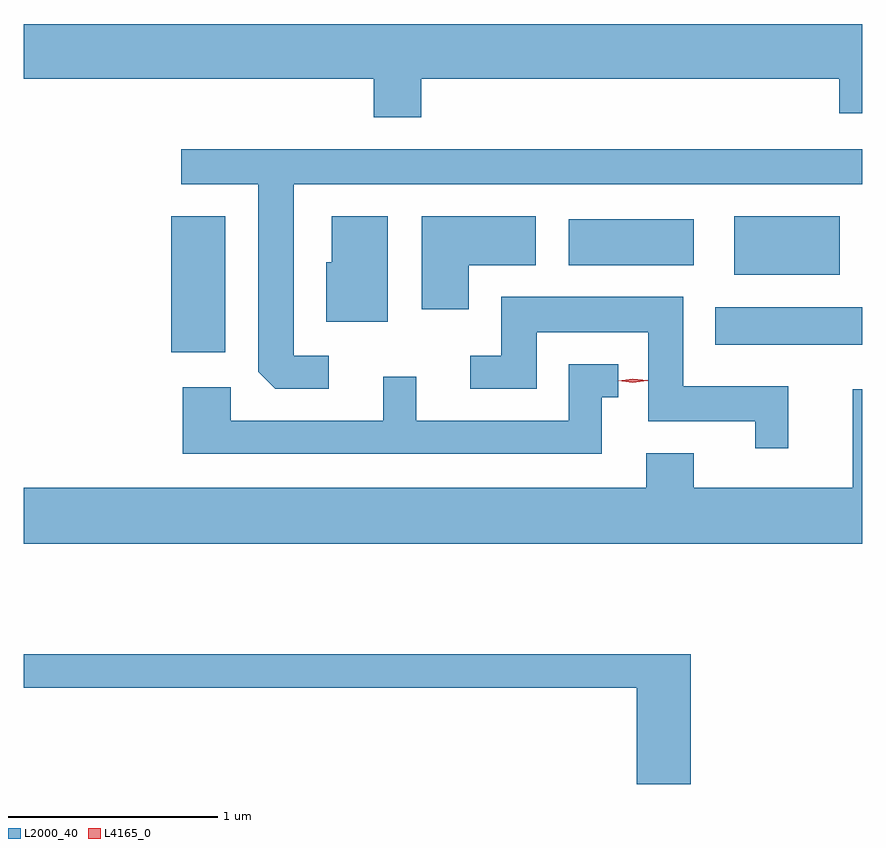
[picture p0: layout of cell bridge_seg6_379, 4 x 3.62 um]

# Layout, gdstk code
import gdstk
lib = gdstk.Library(unit=1e-6, precision=1e-09)
def R(c, l, rs):  # rectangles x0, y0, x1, y1
    for r in rs: c.add(gdstk.rectangle(r[:2], r[2:], *l))
def P(c, l, *ps):  # polygons
    for p in ps: c.add(gdstk.Polygon(p, *l))
L2000_40 = (2000, 40)
L4165_0 = (4165, 0)

bridge_seg6_379 = lib.new_cell('bridge_seg6_379')
R(bridge_seg6_379, L2000_40, [(903.466,1635.311,903.724,1635.959), (906.061,1635.346,906.762,1635.524), (906.151,1635.681,906.654,1635.959), (905.361,1635.726,905.959,1635.944)])
P(bridge_seg6_379, L2000_40, [(904.659,1636.616),(906.651,1636.616),(906.651,1636.451),(906.762,1636.451),(906.762,1636.876),(902.762,1636.876),(902.762,1636.616),(904.431,1636.616),(904.431,1636.431),(904.659,1636.431)],
  [(904.218,1635.294),(904.049,1635.294),(904.049,1636.111),(906.762,1636.111),(906.762,1636.279),(903.513,1636.279),(903.513,1636.111),(903.881,1636.111),(903.881,1635.217),(903.962,1635.136),(904.218,1635.136)],
  [(904.884,1635.726),(905.204,1635.726),(905.204,1635.959),(904.661,1635.959),(904.661,1635.516),(904.884,1635.516)],
  [(904.499,1635.959),(904.231,1635.959),(904.231,1635.739),(904.206,1635.739),(904.206,1635.456),(904.499,1635.456)],
  [(906.409,1635.149),(905.909,1635.149),(905.909,1635.574),(905.041,1635.574),(905.041,1635.294),(904.893,1635.294),(904.893,1635.136),(905.209,1635.136),(905.209,1635.406),(905.741,1635.406),(905.741,1634.981),(906.251,1634.981),(906.251,1634.853),(906.409,1634.853)],
  [(905.519,1635.096),(905.598,1635.096),(905.598,1635.254),(905.361,1635.254),(905.361,1634.984),(904.634,1634.984),(904.634,1635.193),(904.476,1635.193),(904.476,1634.984),(903.749,1634.984),(903.749,1635.144),(903.521,1635.144),(903.521,1634.826),(905.519,1634.826)],
  [(906.762,1635.133),(906.716,1635.133),(906.716,1634.664),(905.959,1634.664),(905.959,1634.829),(905.731,1634.829),(905.731,1634.664),(902.762,1634.664),(902.762,1634.396),(906.762,1634.396)],
  [(905.944,1633.869),(902.762,1633.869),(902.762,1633.711),(905.686,1633.711),(905.686,1633.251),(905.944,1633.251)])
P(bridge_seg6_379, L4165_0, [(905.668,1635.165),(905.599,1635.174),(905.599,1635.175),(905.599,1635.175),(905.668,1635.185),(905.738,1635.176),(905.738,1635.176),(905.738,1635.175)])

lib.write_gds('bridge_seg6_379.gds')
